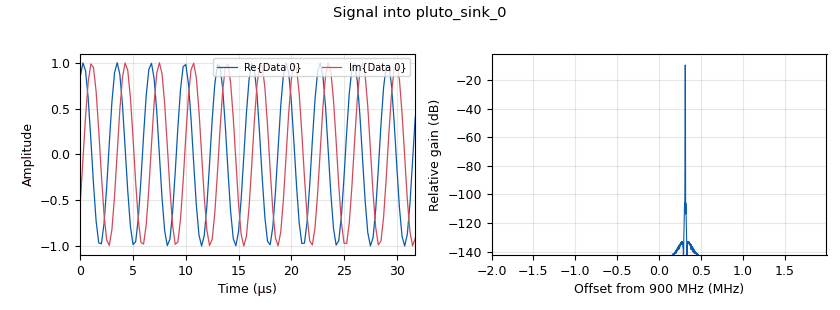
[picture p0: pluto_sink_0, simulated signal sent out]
<?xml version='1.0' encoding='utf-8'?>
<?grc format='1' created='3.7.13'?>
<flow_graph>
<block>
<key>options</key>
<param><key>id</key><value>top_block</value></param>
<param><key>category</key><value>Custom</value></param>
<param><key>generate_options</key><value>wx_gui</value></param>
</block>
<block>
<key>variable_slider</key>
<param><key>id</key><value>fc</value></param>
<param><key>converver</key><value>float_converter</value></param>
<param><key>value</key><value>0.9</value></param>
<param><key>grid_pos</key><value>(4, 1, 1, 10)</value></param>
<param><key>label</key><value>Carrier Frequency (MHz)</value></param>
<param><key>max</key><value>1.7</value></param>
<param><key>min</key><value>0.1</value></param>
<param><key>num_steps</key><value>1000</value></param>
<param><key>style</key><value>wx.SL_HORIZONTAL</value></param>
</block>
<block>
<key>variable</key>
<param><key>id</key><value>freq</value></param>
<param><key>value</key><value>int(fc*1000000000)</value></param>
</block>
<block>
<key>variable</key>
<param><key>id</key><value>fsig</value></param>
<param><key>value</key><value>int(fsin*100000)</value></param>
</block>
<block>
<key>variable_slider</key>
<param><key>id</key><value>fsin</value></param>
<param><key>converver</key><value>float_converter</value></param>
<param><key>value</key><value>1</value></param>
<param><key>grid_pos</key><value>(5, 1, 1, 10)</value></param>
<param><key>label</key><value>Carrier Frequency (MHz)</value></param>
<param><key>max</key><value>2</value></param>
<param><key>min</key><value>0.001</value></param>
<param><key>num_steps</key><value>1000</value></param>
<param><key>style</key><value>wx.SL_HORIZONTAL</value></param>
</block>
<block>
<key>variable</key>
<param><key>id</key><value>samp_rate</value></param>
<param><key>value</key><value>4000000</value></param>
</block>
<block>
<key>analog_sig_source_x</key>
<param><key>id</key><value>analog_sig_source_x_0</value></param>
<param><key>amp</key><value>2</value></param>
<param><key>freq</key><value>0.1</value></param>
<param><key>offset</key><value>-1</value></param>
<param><key>type</key><value>float</value></param>
<param><key>samp_rate</key><value>samp_rate</value></param>
<param><key>waveform</key><value>analog.GR_TRI_WAVE</value></param>
</block>
<block>
<key>blocks_vco_c</key>
<param><key>id</key><value>blocks_vco_c_0</value></param>
<param><key>amplitude</key><value>1</value></param>
<param><key>samp_rate</key><value>samp_rate</value></param>
<param><key>sensitivity</key><value>2000e3</value></param>
</block>
<block>
<key>pluto_sink</key>
<param><key>id</key><value>pluto_sink_0</value></param>
<param><key>attenuation</key><value>0</value></param>
<param><key>buffer_size</key><value>0x8000</value></param>
<param><key>cyclic</key><value>False</value></param>
<param><key>auto_filter</key><value>True</value></param>
<param><key>filter</key><value></value></param>
<param><key>uri</key><value>ip:192.168.2.1</value></param>
<param><key>frequency</key><value>freq</value></param>
<param><key>bandwidth</key><value>20000000</value></param>
<param><key>samplerate</key><value>samp_rate</value></param>
</block>
<block>
<key>rtlsdr_source</key>
<param><key>id</key><value>rtlsdr_source_0</value></param>
<param><key>bb_gain0</key><value>20</value></param>
<param><key>dc_offset_mode0</key><value>2</value></param>
<param><key>freq0</key><value>freq</value></param>
<param><key>gain_mode0</key><value>True</value></param>
<param><key>if_gain0</key><value>30</value></param>
<param><key>iq_balance_mode0</key><value>2</value></param>
<param><key>gain0</key><value>30</value></param>
<param><key>args</key><value></value></param>
<param><key>type</key><value>fc32</value></param>
<param><key>sample_rate</key><value>samp_rate</value></param>
<param><key>sync</key><value></value></param>
</block>
<block>
<key>wxgui_fftsink2</key>
<param><key>id</key><value>wxgui_fftsink2_0</value></param>
<param><key>avg_alpha</key><value>0</value></param>
<param><key>average</key><value>False</value></param>
<param><key>baseband_freq</key><value>0</value></param>
<param><key>fft_size</key><value>1024</value></param>
<param><key>freqvar</key><value>None</value></param>
<param><key>peak_hold</key><value>True</value></param>
<param><key>ref_level</key><value>0</value></param>
<param><key>ref_scale</key><value>2.0</value></param>
<param><key>fft_rate</key><value>15</value></param>
<param><key>samp_rate</key><value>samp_rate</value></param>
<param><key>title</key><value>FFT Plot</value></param>
<param><key>type</key><value>complex</value></param>
<param><key>win</key><value>window.hamming</value></param>
<param><key>y_divs</key><value>10</value></param>
<param><key>y_per_div</key><value>10</value></param>
</block>
<connection><source_block_id>analog_sig_source_x_0</source_block_id><sink_block_id>blocks_vco_c_0</sink_block_id><source_key>0</source_key><sink_key>0</sink_key></connection>
<connection><source_block_id>blocks_vco_c_0</source_block_id><sink_block_id>pluto_sink_0</sink_block_id><source_key>0</source_key><sink_key>0</sink_key></connection>
<connection><source_block_id>rtlsdr_source_0</source_block_id><sink_block_id>wxgui_fftsink2_0</sink_block_id><source_key>0</source_key><sink_key>0</sink_key></connection>
</flow_graph>
